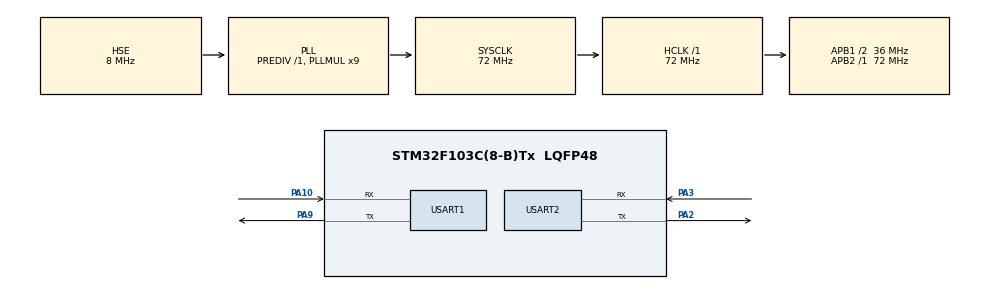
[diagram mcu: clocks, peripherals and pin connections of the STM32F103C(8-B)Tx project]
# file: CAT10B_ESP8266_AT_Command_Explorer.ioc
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Mcu.Family=STM32F1
Mcu.Name=STM32F103C(8-B)Tx
Mcu.Package=LQFP48
NVIC.PriorityGroup=NVIC_PRIORITYGROUP_4
NVIC.USART1_IRQn=true\:0\:0\:false\:false\:true\:true\:true\:true
NVIC.USART2_IRQn=true\:0\:0\:false\:false\:true\:true\:true\:true
PA10.Mode=Asynchronous
PA10.Signal=USART1_RX
PA13.Mode=Serial_Wire
PA13.Signal=SYS_JTMS-SWDIO
PA14.Mode=Serial_Wire
PA14.Signal=SYS_JTCK-SWCLK
PA2.Mode=Asynchronous
PA2.Signal=USART2_TX
PA3.Mode=Asynchronous
PA3.Signal=USART2_RX
PA9.Mode=Asynchronous
PA9.Signal=USART1_TX
PD0-OSC_IN.Mode=HSE-External-Oscillator
PD0-OSC_IN.Signal=RCC_OSC_IN
PD1-OSC_OUT.Mode=HSE-External-Oscillator
PD1-OSC_OUT.Signal=RCC_OSC_OUT
ProjectManager.HeapSize=0x200
ProjectManager.StackSize=0x400
ProjectManager.TargetToolchain=STM32CubeIDE
RCC.AHBFreq_Value=72000000
RCC.APB1CLKDivider=RCC_HCLK_DIV2
RCC.APB1Freq_Value=36000000
RCC.APB1TimFreq_Value=72000000
RCC.APB2Freq_Value=72000000
RCC.APB2TimFreq_Value=72000000
RCC.HCLKFreq_Value=72000000
RCC.PLLMUL=RCC_PLL_MUL9
RCC.PLLSourceVirtual=RCC_PLLSOURCE_HSE
RCC.SYSCLKFreq_VALUE=72000000
RCC.SYSCLKSource=RCC_SYSCLKSOURCE_PLLCLK
RCC.USBFreq_Value=72000000
USART1.VirtualMode=VM_ASYNC
USART2.VirtualMode=VM_ASYNC
board=custom

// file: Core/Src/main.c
/* USER CODE BEGIN Header */
/**
  ******************************************************************************
  * @file           : main.c
  * @brief          : CAT 10 - Task B : Explore the ESP8266 AT command interface
  *                    Runs AT, AT+GMR, AT+CWMODE=1, AT+CWLAP and prints each reply on the PC.
  ******************************************************************************
  * @attention
  *
  * Copyright (c) 2026 STMicroelectronics.
  * All rights reserved.
  *
  * This software is licensed under terms that can be found in the LICENSE file
  * in the root directory of this software component.
  * If no LICENSE file comes with this software, it is provided AS-IS.
  *
  ******************************************************************************
  */
/* USER CODE END Header */
#include "main.h"

/* USER CODE BEGIN Includes */
#include <string.h>
#include <stdio.h>
/* USER CODE END Includes */

/* USER CODE BEGIN PTD */
typedef enum { AT_OK = 0, AT_ERROR, AT_TIMEOUT } at_status_t;
/* USER CODE END PTD */

/* USER CODE BEGIN PD */
#define ESP_UART        (&huart1)    /* USART1 PA9/PA10  <-> Wemos D1 mini (AT firmware) */
#define PC_UART         (&huart2)    /* USART2 PA2/PA3   <-> USB-TTL -> PuTTY            */
#define AT_LINE_MAX     128U
#define AT_RESP_MAX     1024U
/* USER CODE END PD */

UART_HandleTypeDef huart1;
UART_HandleTypeDef huart2;

void SystemClock_Config(void);
static void MX_GPIO_Init(void);
static void MX_USART1_UART_Init(void);
static void MX_USART2_UART_Init(void);

/* USER CODE BEGIN 0 */
/* ---------------- PC terminal (USART2) ---------------- */
static void pc_print(const char *s)
{
  HAL_UART_Transmit(PC_UART, (uint8_t *)s, (uint16_t)strlen(s), HAL_MAX_DELAY);
}

static void pc_println(const char *s)
{
  pc_print(s);
  pc_print("\r\n");
}

/* ---------------- ESP8266 (USART1), polling with timeouts ---------------- */
/* Read one text line (without CR/LF). Returns its length, or -1 on timeout. */
static int esp_read_line(char *buf, uint16_t size, uint32_t timeout_ms)
{
  uint16_t len = 0;
  uint8_t  c;
  uint32_t start = HAL_GetTick();

  while ((HAL_GetTick() - start) < timeout_ms)
  {
    if (HAL_UART_Receive(ESP_UART, &c, 1, 1) != HAL_OK)
      continue;
    if (c == '\r' || c == '\n')
    {
      if (len > 0)
      {
        buf[len] = '\0';
        return len;
      }
    }
    else if (len < size - 1U)
    {
      buf[len++] = (char)c;
    }
  }
  buf[len] = '\0';
  return -1;
}

/* Send one AT command and collect every reply line until OK / ERROR / FAIL.
 * The lines are stored first and printed later, so no byte from the ESP is
 * lost while the (slower) PC terminal is being written.                 */
static at_status_t at_command(const char *cmd, char *resp, uint16_t resp_size, uint32_t timeout_ms)
{
  char     line[AT_LINE_MAX];
  uint32_t start = HAL_GetTick();

  resp[0] = '\0';
  __HAL_UART_CLEAR_OREFLAG(ESP_UART);
  HAL_UART_Transmit(ESP_UART, (uint8_t *)cmd, (uint16_t)strlen(cmd), 1000);
  HAL_UART_Transmit(ESP_UART, (uint8_t *)"\r\n", 2, 1000);

  while ((HAL_GetTick() - start) < timeout_ms)
  {
    if (esp_read_line(line, sizeof(line), timeout_ms - (HAL_GetTick() - start)) < 0)
      break;
    if (strcmp(line, cmd) == 0)
      continue;                                   /* echo of our own command */
    if ((strlen(resp) + strlen(line) + 2U) < resp_size)
    {
      strcat(resp, line);
      strcat(resp, "\n");
    }
    if (strcmp(line, "OK") == 0)                       return AT_OK;
    if (strcmp(line, "ERROR") == 0 || strcmp(line, "FAIL") == 0) return AT_ERROR;
  }
  return AT_TIMEOUT;
}

/* Print ">> command", run it, then print every reply line as "<< line" */
static at_status_t at_show(const char *cmd, uint32_t timeout_ms)
{
  static char resp[AT_RESP_MAX];
  at_status_t st;
  char *line;

  pc_print(">> ");
  pc_println(cmd);
  st = at_command(cmd, resp, sizeof(resp), timeout_ms);
  for (line = strtok(resp, "\n"); line != NULL; line = strtok(NULL, "\n"))
  {
    pc_print("<< ");
    pc_println(line);
  }
  if (st == AT_TIMEOUT)
    pc_println("<< (no reply - check wiring TX/RX crossed, 5 V, common GND)");
  return st;
}

/* Power-up: wait for the ESP to boot, check it answers, switch echo off */
static at_status_t esp_startup(void)
{
  static char resp[64];
  at_status_t st = AT_TIMEOUT;

  HAL_Delay(2000);
  __HAL_UART_CLEAR_OREFLAG(ESP_UART);
  for (int i = 0; i < 3 && st != AT_OK; i++)
    st = at_command("AT", resp, sizeof(resp), 1000);
  at_command("ATE0", resp, sizeof(resp), 1000);
  return st;
}

/* ---------------------------------------------------------------------------
 * Transparent bridge PuTTY <-> ESP8266, interrupt driven.
 * Each UART receives into its own ring buffer from its RX interrupt, so a
 * byte arriving on one side is never lost while the other side is being
 * written. The main loop forwards whatever has arrived in batches.
 * Enter (CR) from PuTTY is sent to the ESP as CR LF. Overflows are counted.
 * ------------------------------------------------------------------------- */
#define BRIDGE_RING   256U                       /* power of two; one slot stays free -> 255 usable bytes */
typedef struct
{
  volatile uint8_t  buf[BRIDGE_RING];
  volatile uint16_t head, tail;
  volatile uint32_t lost;                        /* bytes dropped: ring full            */
  volatile uint8_t  armed;                       /* RX interrupt currently armed        */
  uint8_t           rx;                          /* byte the interrupt receives into */
} bridge_ring_t;

static bridge_ring_t from_pc, from_esp;
static volatile uint8_t bridge_on = 0;         /* read by the UART callbacks */
static uint32_t tx_failures = 0;               /* HAL_UART_Transmit errors/timeouts */

static void ring_push(bridge_ring_t *r, uint8_t c)
{
  uint16_t next = (uint16_t)((r->head + 1U) & (BRIDGE_RING - 1U));
  if (next != r->tail) { r->buf[r->head] = c; r->head = next; }
  else r->lost++;
}

static uint16_t ring_take(bridge_ring_t *r, uint8_t *out, uint16_t max)
{
  uint16_t n = 0;
  while (n < max && r->tail != r->head)
  {
    out[n++] = r->buf[r->tail];
    r->tail = (uint16_t)((r->tail + 1U) & (BRIDGE_RING - 1U));
  }
  return n;
}

/* (Re)arm one-byte interrupt reception; remembers whether it succeeded so the
   main loop can retry if HAL refused (e.g. busy after an error). */
static void bridge_arm(UART_HandleTypeDef *huart, bridge_ring_t *r)
{
  r->armed = (HAL_UART_Receive_IT(huart, &r->rx, 1) == HAL_OK);
}

void HAL_UART_RxCpltCallback(UART_HandleTypeDef *huart)
{
  if (!bridge_on) return;
  if (huart == ESP_UART)     { ring_push(&from_esp, from_esp.rx); bridge_arm(ESP_UART, &from_esp); }
  else if (huart == PC_UART) { ring_push(&from_pc,  from_pc.rx);  bridge_arm(PC_UART,  &from_pc);  }
}

void HAL_UART_ErrorCallback(UART_HandleTypeDef *huart)
{
  if (!bridge_on) return;
  __HAL_UART_CLEAR_OREFLAG(huart);
  if (huart == ESP_UART)     bridge_arm(ESP_UART, &from_esp);
  else if (huart == PC_UART) bridge_arm(PC_UART,  &from_pc);
}

static void bridge_send(UART_HandleTypeDef *huart, uint8_t *d, uint16_t n)
{
  if (HAL_UART_Transmit(huart, d, n, 100) != HAL_OK)
    tx_failures++;
}

static void at_bridge_start(void)
{
  memset((void *)&from_pc, 0, sizeof(from_pc));
  memset((void *)&from_esp, 0, sizeof(from_esp));
  bridge_on = 1;
  __HAL_UART_CLEAR_OREFLAG(ESP_UART);
  bridge_arm(ESP_UART, &from_esp);
  bridge_arm(PC_UART,  &from_pc);
}

static void at_bridge_poll(void)
{
  static uint32_t reported = 0;

  /* re-arm reception if an earlier attempt was refused */
  if (!from_esp.armed) bridge_arm(ESP_UART, &from_esp);
  if (!from_pc.armed)  bridge_arm(PC_UART,  &from_pc);
  uint8_t chunk[64];
  uint8_t out[2 * sizeof(chunk)];
  uint16_t n, i, m;

  /* ESP8266 -> PC, as much as has arrived (up to 64 bytes per call) */
  n = ring_take(&from_esp, chunk, sizeof(chunk));
  if (n) bridge_send(PC_UART, chunk, n);

  /* PC -> ESP8266 (CR becomes CR LF) and local echo */
  n = ring_take(&from_pc, chunk, sizeof(chunk));
  for (i = 0, m = 0; i < n; i++)
  {
    out[m++] = chunk[i];
    if (chunk[i] == '\r') out[m++] = '\n';
  }
  if (m)
  {
    bridge_send(PC_UART, out, m);
    bridge_send(ESP_UART, out, m);
  }

  if (from_pc.lost + from_esp.lost + tx_failures != reported)
  {
    char msg[96];
    reported = from_pc.lost + from_esp.lost + tx_failures;
    snprintf(msg, sizeof(msg), "\r\n[bridge] bytes lost: PC->ESP %lu, ESP->PC %lu; transmit failures: %lu\r\n",
             (unsigned long)from_pc.lost, (unsigned long)from_esp.lost, (unsigned long)tx_failures);
    pc_print(msg);
  }
}
/* USER CODE END 0 */

int main(void)
{

  /* MCU Configuration--------------------------------------------------------*/

  /* Reset of all peripherals, Initializes the Flash interface and the Systick. */
  HAL_Init();

  /* Configure the system clock */
  SystemClock_Config();

  /* Initialize all configured peripherals */
  MX_GPIO_Init();
  MX_USART1_UART_Init();
  MX_USART2_UART_Init();
  /* USER CODE BEGIN 2 */
  pc_println("");
  pc_println("STM32-WiFi MODEM TEST  (CAT10B - AT command explorer)");
  esp_startup();

  at_show("AT", 1000);              /* check modem response   */
  at_show("AT+GMR", 2000);          /* firmware / SDK version */
  at_show("AT+CWMODE=1", 2000);     /* Wi-Fi station mode     */
  at_show("AT+CWLAP", 10000);       /* scan networks (slow)   */

  pc_println("");
  pc_println("Requirement            -> Command");
  pc_println("Check modem response   -> AT");
  pc_println("Firmware / version     -> AT+GMR");
  pc_println("Station mode           -> AT+CWMODE=1");
  pc_println("Scan networks          -> AT+CWLAP");
  pc_println("Connect to an AP       -> AT+CWJAP=\"ssid\",\"password\"");
  pc_println("Network information    -> AT+CIFSR");
  pc_println("Open TCP connection    -> AT+CIPSTART=\"TCP\",\"host\",port");
  pc_println("Send application data  -> AT+CIPSEND=<length>");
  pc_println("");
  pc_println("Bridge mode: try the remaining commands by hand.");
  at_bridge_start();                /* interrupt-driven from here on */
  /* USER CODE END 2 */

  /* Infinite loop */
  while (1)
  {

    /* USER CODE BEGIN 3 */
    at_bridge_poll();
  }
  /* USER CODE END 3 */
}

void SystemClock_Config(void)
{
  RCC_OscInitTypeDef RCC_OscInitStruct = {0};
  RCC_ClkInitTypeDef RCC_ClkInitStruct = {0};

  /** Initializes the RCC Oscillators according to the specified parameters
  * in the RCC_OscInitTypeDef structure.
  */
  RCC_OscInitStruct.OscillatorType = RCC_OSCILLATORTYPE_HSE;
  RCC_OscInitStruct.HSEState = RCC_HSE_ON;
  RCC_OscInitStruct.HSEPredivValue = RCC_HSE_PREDIV_DIV1;
  RCC_OscInitStruct.HSIState = RCC_HSI_ON;
  RCC_OscInitStruct.PLL.PLLState = RCC_PLL_ON;
  RCC_OscInitStruct.PLL.PLLSource = RCC_PLLSOURCE_HSE;
  RCC_OscInitStruct.PLL.PLLMUL = RCC_PLL_MUL9;
  if (HAL_RCC_OscConfig(&RCC_OscInitStruct) != HAL_OK)
  {
    Error_Handler();
  }

  /** Initializes the CPU, AHB and APB buses clocks
  */
  RCC_ClkInitStruct.ClockType = RCC_CLOCKTYPE_HCLK|RCC_CLOCKTYPE_SYSCLK
                              |RCC_CLOCKTYPE_PCLK1|RCC_CLOCKTYPE_PCLK2;
  RCC_ClkInitStruct.SYSCLKSource = RCC_SYSCLKSOURCE_PLLCLK;
  RCC_ClkInitStruct.AHBCLKDivider = RCC_SYSCLK_DIV1;
  RCC_ClkInitStruct.APB1CLKDivider = RCC_HCLK_DIV2;
  RCC_ClkInitStruct.APB2CLKDivider = RCC_HCLK_DIV1;

  if (HAL_RCC_ClockConfig(&RCC_ClkInitStruct, FLASH_LATENCY_2) != HAL_OK)
  {
    Error_Handler();
  }
}

static void MX_USART1_UART_Init(void)
{

  huart1.Instance = USART1;
  huart1.Init.BaudRate = 115200;
  huart1.Init.WordLength = UART_WORDLENGTH_8B;
  huart1.Init.StopBits = UART_STOPBITS_1;
  huart1.Init.Parity = UART_PARITY_NONE;
  huart1.Init.Mode = UART_MODE_TX_RX;
  huart1.Init.HwFlowCtl = UART_HWCONTROL_NONE;
  huart1.Init.OverSampling = UART_OVERSAMPLING_16;
  if (HAL_UART_Init(&huart1) != HAL_OK)
  {
    Error_Handler();
  }

}

static void MX_USART2_UART_Init(void)
{

  huart2.Instance = USART2;
  huart2.Init.BaudRate = 115200;
  huart2.Init.WordLength = UART_WORDLENGTH_8B;
  huart2.Init.StopBits = UART_STOPBITS_1;
  huart2.Init.Parity = UART_PARITY_NONE;
  huart2.Init.Mode = UART_MODE_TX_RX;
  huart2.Init.HwFlowCtl = UART_HWCONTROL_NONE;
  huart2.Init.OverSampling = UART_OVERSAMPLING_16;
  if (HAL_UART_Init(&huart2) != HAL_OK)
  {
    Error_Handler();
  }

}

static void MX_GPIO_Init(void)
{

  /* GPIO Ports Clock Enable */
  __HAL_RCC_GPIOD_CLK_ENABLE();
  __HAL_RCC_GPIOA_CLK_ENABLE();

}

void Error_Handler(void)
{
  __disable_irq();
  while (1)
  {
  }
}
